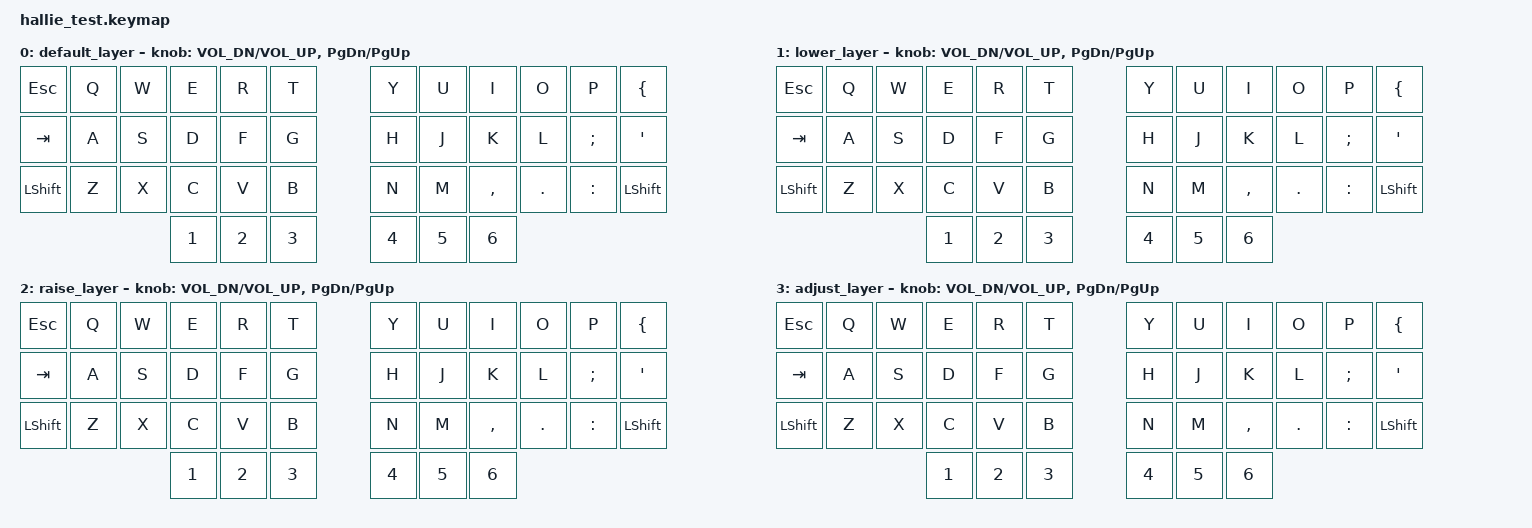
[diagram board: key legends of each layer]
#include <behaviors.dtsi>
#include <dt-bindings/zmk/keys.h>
#include <dt-bindings/zmk/bt.h>
#include <dt-bindings/zmk/ext_power.h>
#include <dt-bindings/zmk/rgb.h>
#include <dt-bindings/zmk/outputs.h>
#include <dt-bindings/zmk/indicators.h>

#define DEF 0
#define LWR 1
#define RSE 2
#define ADJ 3

&lt { quick_tap_ms = <200>; };
&mt { quick_tap_ms = <200>; };

/ {
        keymap {
                compatible = "zmk,keymap";

                default_layer {
                        bindings = <
                                &kp ESC    &kp Q       &kp W      &kp E     &kp R     &kp T               &kp Y       &kp U      &kp I      &kp O    &kp P      &kp LEFT_BRACE
                                &kp TAB    &kp A       &kp S      &kp D     &kp F     &kp G               &kp H       &kp J      &kp K      &kp L    &kp SEMI   &kp SQT
                                &kp LSHFT  &kp Z       &kp X      &kp C     &kp V     &kp B               &kp N       &kp M      &kp COMMA  &kp DOT  &kp COLON  &kp LSHFT
                                                                  &kp 1     &kp 2     &kp 3               &kp 4       &kp 5      &kp 6
                        >;

                        sensor-bindings = <&inc_dec_kp C_VOL_DN C_VOL_UP &inc_dec_kp PG_DN PG_UP>;
                };

                lower_layer {
                        bindings = <
                                &kp ESC    &kp Q       &kp W      &kp E     &kp R     &kp T               &kp Y       &kp U      &kp I      &kp O    &kp P      &kp LEFT_BRACE
                                &kp TAB    &kp A       &kp S      &kp D     &kp F     &kp G               &kp H       &kp J      &kp K      &kp L    &kp SEMI   &kp SQT
                                &kp LSHFT  &kp Z       &kp X      &kp C     &kp V     &kp B               &kp N       &kp M      &kp COMMA  &kp DOT  &kp COLON  &kp LSHFT
                                                                  &kp 1     &kp 2     &kp 3               &kp 4       &kp 5      &kp 6
                        >;

                        sensor-bindings = <&inc_dec_kp C_VOL_DN C_VOL_UP &inc_dec_kp PG_DN PG_UP>;
                };

                raise_layer {
                        bindings = <
                                &kp ESC    &kp Q       &kp W      &kp E     &kp R     &kp T               &kp Y       &kp U      &kp I      &kp O    &kp P      &kp LEFT_BRACE
                                &kp TAB    &kp A       &kp S      &kp D     &kp F     &kp G               &kp H       &kp J      &kp K      &kp L    &kp SEMI   &kp SQT
                                &kp LSHFT  &kp Z       &kp X      &kp C     &kp V     &kp B               &kp N       &kp M      &kp COMMA  &kp DOT  &kp COLON  &kp LSHFT
                                                                  &kp 1     &kp 2     &kp 3               &kp 4       &kp 5      &kp 6
                        >;

                        sensor-bindings = <&inc_dec_kp C_VOL_DN C_VOL_UP &inc_dec_kp PG_DN PG_UP>;
                };
                adjust_layer {
                        bindings = <
                                &kp ESC    &kp Q       &kp W      &kp E     &kp R     &kp T               &kp Y       &kp U      &kp I      &kp O    &kp P      &kp LEFT_BRACE
                                &kp TAB    &kp A       &kp S      &kp D     &kp F     &kp G               &kp H       &kp J      &kp K      &kp L    &kp SEMI   &kp SQT
                                &kp LSHFT  &kp Z       &kp X      &kp C     &kp V     &kp B               &kp N       &kp M      &kp COMMA  &kp DOT  &kp COLON  &kp LSHFT
                                                                  &kp 1     &kp 2     &kp 3               &kp 4       &kp 5      &kp 6
                        >;

                        sensor-bindings = <&inc_dec_kp C_VOL_DN C_VOL_UP &inc_dec_kp PG_DN PG_UP>;
                };
        };
};
